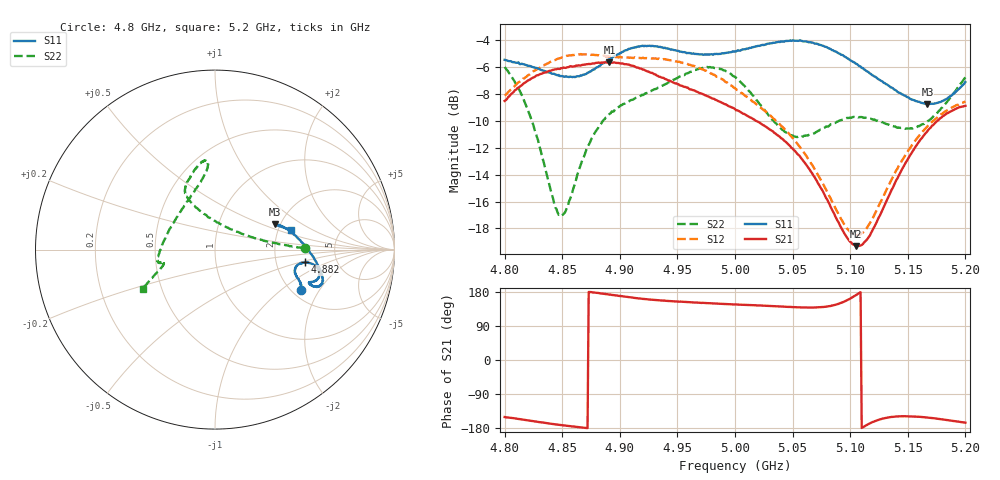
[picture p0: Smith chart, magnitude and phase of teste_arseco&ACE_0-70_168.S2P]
! Network Analyzer HP8722D
! Hewlett-Packard
! Data name: Linha & Wilkinson
! Saver's name: Rodrigo Anjos
! Comments: Teste da utilização de aquisição
! continua pelo VNA HP8722D
! Time and date: 8/5/2025 14:09
!  Frequency  S11  S21  S12  S22
# HZ  S  MA R 50
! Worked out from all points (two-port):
!   401 points, 4.8 GHz to 5.2 GHz, reference 50 ohm
!   highest |S21| = -5.67 dB at 4.891 GHz (marker M1); lowest = -19.3 dB at 5.105 GHz (marker M2)
!   |S21| within 3 dB of the highest: start of sweep to 4.989 GHz
!   lowest |S11| = -8.8 dB at 5.167 GHz (marker M3), VSWR 2.15, Z = 94.2 + j30.5 ohm
!   |S11| at or under -10 dB: nowhere
!   |S22| runs from -17.1 to -6.0 dB; largest |S21 - S12| = 1.1
!   S11 on the Smith chart (normalised r, x): 4.8 GHz: 2.23, -1.41; 4.882 GHz: 2.91, -0.55; 5.2 GHz: 2.35, +0.65
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4.8e9  0.5312 -25.3  0.3741 -150.5  0.3921 8.6  0.4993 0.8
4.821e9  0.5048 -20.5  0.4469 -159.7  0.4676 5.5  0.3385 6.1
4.847e9  0.4668 -16.3  0.4919 -171.0  0.5375 1.4  0.1414 55.2
4.853e9  0.461 -15.0  0.496 -173.3  0.5471 0.6  0.146 79.1
4.867e9  0.465 -10.9  0.5082 -178.2  0.5559 -1.6  0.222 109.2
4.882e9  0.5038 -8.1  0.5191 176.4  0.5528 -2.6  0.3016 117.1
4.891e9  0.5345 -8.1  0.5204 172.5  0.547 -2.7  0.3344 118.0
4.91e9  0.5868 -10.8  0.5057 165.0  0.5408 -2.3  0.3772 116.3
4.934e9  0.5929 -16.3  0.4602 157.4  0.537 -2.9  0.4196 109.8
4.974e9  0.5564 -19.3  0.3926 150.3  0.4845 -6.7  0.4957 97.3
5e9  0.5714 -20.1  0.3489 146.4  0.4175 -6.5  0.4595 95.1
5.018e9  0.595 -20.2  0.3158 144.4  0.365 -3.8  0.3803 102.8
5.043e9  0.6217 -18.3  0.2658 140.6  0.2945 1.6  0.2881 130.6
5.067e9  0.6159 -13.8  0.2016 138.5  0.2167 8.8  0.2824 164.8
5.095e9  0.5467 -4.1  0.1205 154.4  0.1301 34.6  0.3211 -172.6
5.105e9  0.5136 0.6  0.1082 171.2  0.1189 53.6  0.3265 -169.2
5.116e9  0.478 6.2  0.117 -168.9  0.1295 75.0  0.3228 -166.8
5.134e9  0.4246 14.9  0.1677 -151.1  0.184 94.5  0.3047 -166.3
5.152e9  0.3809 21.1  0.2351 -148.6  0.25 100.1  0.2953 -164.6
5.167e9  0.3642 22.7  0.2887 -151.9  0.3008 100.9  0.3143 -161.5
5.183e9  0.3793 20.2  0.3338 -157.9  0.3431 100.8  0.3663 -157.0
5.2e9  0.4394 14.6  0.3586 -165.3  0.3726 101.3  0.4577 -151.5
